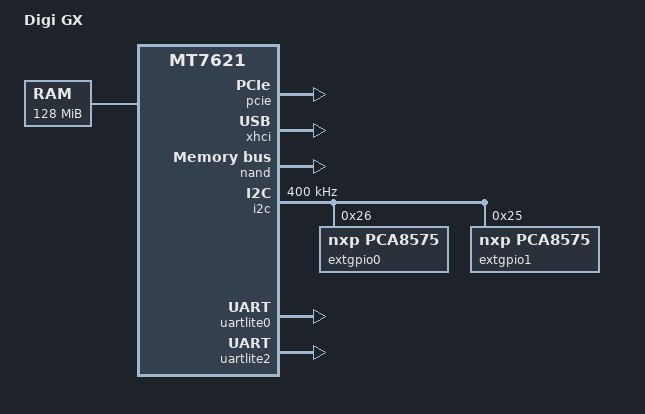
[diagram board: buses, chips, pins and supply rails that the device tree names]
/dts-v1/;

#include "mt7621.dtsi"
#include <dt-bindings/gpio/gpio.h>

/ {
	model = "Digi GX";
	compatible = "digi,gx", "mediatek,mt7621-soc";

	memory@0 {
		device_type = "memory";
		reg = <0x0 0x08000000>;
	};
};

&pcie {
	pinctrl-names = "default";
	pinctrl-0 = <&pcie_pins>;
	status = "okay";
};

&xhci {
	status = "okay";
};

&nand {
	status = "okay";
	pin-ctrl-names = "default";
	pinctrl-0 = <&nand_pins>;

	partition@0 {
		label = "u-boot";
		reg = <0x00000000 0x00200000>;
	};
	partition@1 {
		label = "u-boot-env";
		reg = <0x00200000 0x00100000>;
	};
	partition@2 {
		label = "log";
		reg = <0x00300000 0x00200000>;
	};
	partition@3 {
		label = "flash";
		reg = <0x00500000 0>;
	};
	partition@4 {
		label = "all";
		reg = <0x00000000 0>;
	};
};

&i2c {
	clock-frequency = <400000>;
	status = "okay";

	extgpio0: pca8575@26 {
		compatible = "nxp,pca8575";
		reg = <0x26>;
		gpio-controller;
		#gpio-cells = <2>;
	};
	extgpio1: pca8575@25 {
		compatible = "nxp,pca8575";
		reg = <0x25>;
		gpio-controller;
		#gpio-cells = <2>;
	};
};

&uartlite0 {
	status = "okay";
};

&uartlite1 {
	status = "disabled";
};

&uartlite2 {
	status = "okay";
	pinctrl-names = "default";
	pinctrl-0 = <&uart3_pins>;
	dtr-gpios = <&gpio0 27 GPIO_ACTIVE_LOW>;
	dcd-gpios = <&gpio0 23 GPIO_ACTIVE_LOW>;
};

&pinctrl {
	state_default: pinctrl0 {
		gpio {
			ralink,group = "rgmii2", "uart2";
			ralink,function = "gpio";
		};
	};
};
